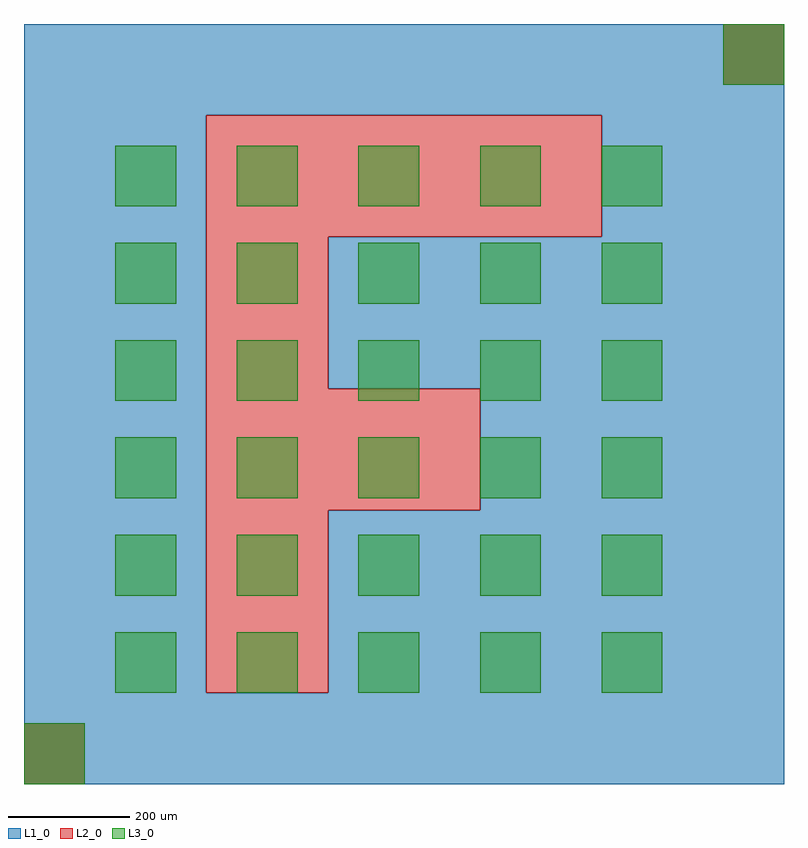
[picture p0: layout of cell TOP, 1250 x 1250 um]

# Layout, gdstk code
import gdstk
lib = gdstk.Library(unit=1e-6, precision=2e-08)
def R(c, l, rs):  # rectangles x0, y0, x1, y1
    for r in rs: c.add(gdstk.rectangle(r[:2], r[2:], *l))
def P(c, l, *ps):  # polygons
    for p in ps: c.add(gdstk.Polygon(p, *l))
L1_0 = (1, 0)
L2_0 = (2, 0)
L3_0 = (3, 0)

c_x = lib.new_cell('X')
R(c_x, L3_0, [(0,0,100,100)])

top = lib.new_cell('TOP')
P(top, L1_0, [(-250,-250),(-250,850),(50,850),(50,-100),(250,-100),(250,200),(500,200),(500,400),(250,400),(250,650),(700,650),(700,850),(-250,850),(-250,1000),(1000,1000),(1000,-250)])
R(top, L2_0, [(-250,-250,-150,-150), (900,900,1000,1000)])
P(top, L2_0, [(50,-100),(50,850),(700,850),(700,650),(250,650),(250,400),(500,400),(500,200),(250,200),(250,-100)])
R(top, L3_0, [(-250,-250,-150,-150), (900,900,1000,1000)])
r = gdstk.Reference(c_x, (-100,-100)); r.repetition = gdstk.Repetition(5, 6, v1=(200,0), v2=(0,160)); top.add(r)

lib.write_gds('TOP.gds')
